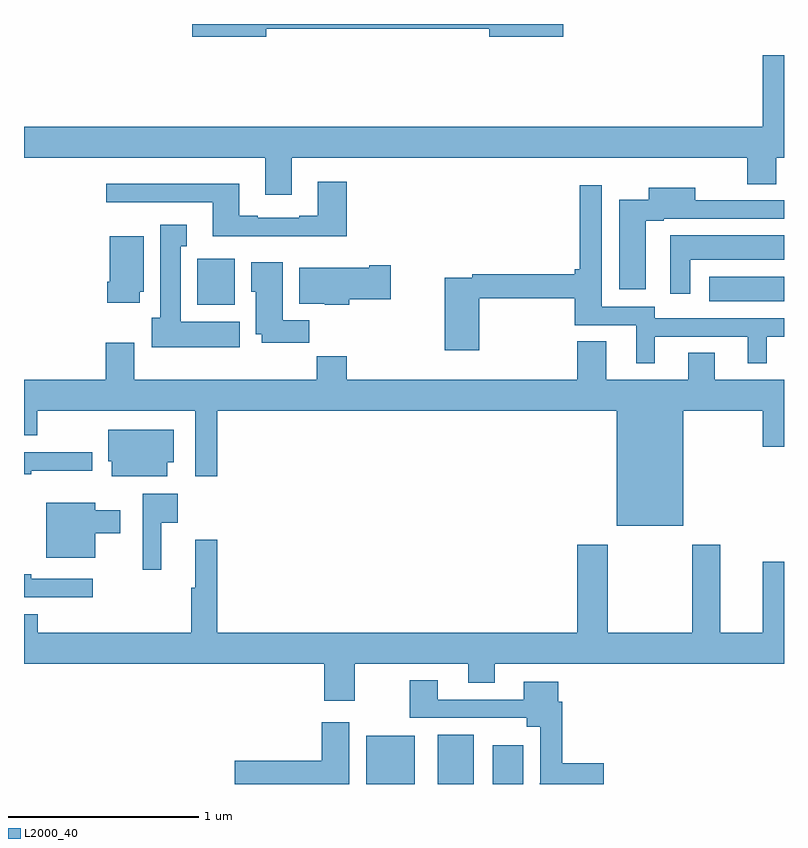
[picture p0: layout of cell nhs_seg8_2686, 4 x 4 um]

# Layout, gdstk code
import gdstk
lib = gdstk.Library(unit=1e-6, precision=1e-09)
def R(c, l, rs):  # rectangles x0, y0, x1, y1
    for r in rs: c.add(gdstk.rectangle(r[:2], r[2:], *l))
def P(c, l, *ps):  # polygons
    for p in ps: c.add(gdstk.Polygon(p, *l))
L2000_40 = (2000, 40)

nhs_seg8_2686 = lib.new_cell('nhs_seg8_2686')
R(nhs_seg8_2686, L2000_40, [(282.8,1083.9,283.057,1084.153), (283.178,1083.9,283.366,1084.159), (283.466,1083.9,283.627,1084.105), (281.912,1086.422,282.109,1086.664), (284.607,1086.44,285,1086.571)])
P(nhs_seg8_2686, L2000_40, [(282.274,1087.876),(283.448,1087.876),(283.448,1087.834),(283.837,1087.834),(283.837,1087.9),(281.886,1087.9),(281.886,1087.834),(282.274,1087.834)],
  [(282.409,1087.196),(284.807,1087.196),(284.807,1087.057),(284.96,1087.057),(284.96,1087.196),(285,1087.196),(285,1087.735),(284.888,1087.735),(284.888,1087.36),(281,1087.36),(281,1087.196),(282.269,1087.196),(282.269,1087.002),(282.409,1087.002)],
  [(282.698,1087.069),(282.545,1087.069),(282.545,1086.892),(282.449,1086.892),(282.449,1086.879),(282.229,1086.879),(282.229,1086.892),(282.133,1086.892),(282.133,1087.06),(281.433,1087.06),(281.433,1086.963),(281.993,1086.963),(281.993,1086.782),(282.698,1086.782)],
  [(284.32,1086.255),(284.81,1086.255),(284.81,1086.114),(284.908,1086.114),(284.908,1086.255),(285,1086.255),(285,1086.351),(284.319,1086.351),(284.319,1086.411),(284.04,1086.411),(284.04,1087.051),(283.924,1087.051),(283.924,1086.608),(283.898,1086.608),(283.898,1086.584),(283.36,1086.584),(283.36,1086.564),(283.214,1086.564),(283.214,1086.183),(283.397,1086.183),(283.397,1086.456),(283.898,1086.456),(283.898,1086.315),(284.222,1086.315),(284.222,1086.114),(284.32,1086.114)],
  [(284.272,1086.864),(284.368,1086.864),(284.368,1086.876),(285,1086.876),(285,1086.972),(284.533,1086.972),(284.533,1087.039),(284.288,1087.039),(284.288,1086.975),(284.132,1086.975),(284.132,1086.504),(284.272,1086.504)],
  [(282.136,1086.334),(281.824,1086.334),(281.824,1086.731),(281.857,1086.731),(281.857,1086.844),(281.717,1086.844),(281.717,1086.354),(281.672,1086.354),(281.672,1086.2),(282.136,1086.2)],
  [(284.506,1086.659),(285,1086.659),(285,1086.787),(284.402,1086.787),(284.402,1086.48),(284.506,1086.48)],
  [(281.608,1086.492),(281.629,1086.492),(281.629,1086.784),(281.45,1086.784),(281.45,1086.544),(281.438,1086.544),(281.438,1086.432),(281.608,1086.432)],
  [(282.5,1086.34),(282.361,1086.34),(282.361,1086.646),(282.197,1086.646),(282.197,1086.492),(282.221,1086.492),(282.221,1086.266),(282.251,1086.266),(282.251,1086.222),(282.5,1086.222)],
  [(282.713,1086.451),(282.931,1086.451),(282.931,1086.629),(282.818,1086.629),(282.818,1086.616),(282.449,1086.616),(282.449,1086.428),(282.582,1086.428),(282.582,1086.422),(282.713,1086.422)],
  [(284.47,1085.864),(284.888,1085.864),(284.888,1085.676),(285,1085.676),(285,1086.028),(284.635,1086.028),(284.635,1086.17),(284.495,1086.17),(284.495,1086.028),(284.065,1086.028),(284.065,1086.23),(283.913,1086.23),(283.913,1086.028),(282.698,1086.028),(282.698,1086.152),(282.541,1086.152),(282.541,1086.028),(281.581,1086.028),(281.581,1086.223),(281.429,1086.223),(281.429,1086.028),(281,1086.028),(281,1085.736),(281.071,1085.736),(281.071,1085.864),(281.901,1085.864),(281.901,1085.52),(282.017,1085.52),(282.017,1085.864),(284.12,1085.864),(284.12,1085.258),(284.47,1085.258)],
  [(281.755,1085.594),(281.788,1085.594),(281.788,1085.764),(281.444,1085.764),(281.444,1085.598),(281.462,1085.598),(281.462,1085.519),(281.755,1085.519)],
  [(281.038,1085.549),(281.359,1085.549),(281.359,1085.646),(281,1085.646),(281,1085.53),(281.038,1085.53)],
  [(281.723,1085.276),(281.809,1085.276),(281.809,1085.428),(281.625,1085.428),(281.625,1085.028),(281.723,1085.028)],
  [(281.374,1085.219),(281.506,1085.219),(281.506,1085.341),(281.374,1085.341),(281.374,1085.38),(281.117,1085.38),(281.117,1085.09),(281.374,1085.09)],
  [(282.741,1084.532),(283.337,1084.532),(283.337,1084.433),(283.477,1084.433),(283.477,1084.532),(285,1084.532),(285,1085.071),(284.888,1085.071),(284.888,1084.696),(284.665,1084.696),(284.665,1085.158),(284.518,1085.158),(284.518,1084.696),(284.073,1084.696),(284.073,1085.158),(283.913,1085.158),(283.913,1084.696),(282.017,1084.696),(282.017,1085.185),(281.9,1085.185),(281.9,1084.932),(281.881,1084.932),(281.881,1084.696),(281.072,1084.696),(281.072,1084.794),(281,1084.794),(281,1084.532),(282.581,1084.532),(282.581,1084.338),(282.741,1084.338)],
  [(281.362,1084.98),(281.038,1084.98),(281.038,1085.003),(281,1085.003),(281,1084.883),(281.362,1084.883)],
  [(284.05,1084.009),(283.832,1084.009),(283.832,1084.334),(283.813,1084.334),(283.813,1084.438),(283.631,1084.438),(283.631,1084.344),(283.177,1084.344),(283.177,1084.447),(283.03,1084.447),(283.03,1084.248),(283.646,1084.248),(283.646,1084.202),(283.716,1084.202),(283.716,1083.905),(283.715,1083.905),(283.715,1083.9),(284.05,1083.9)],
  [(282.712,1084.225),(282.566,1084.225),(282.566,1084.022),(282.108,1084.022),(282.108,1083.9),(282.712,1083.9)])

lib.write_gds('nhs_seg8_2686.gds')
